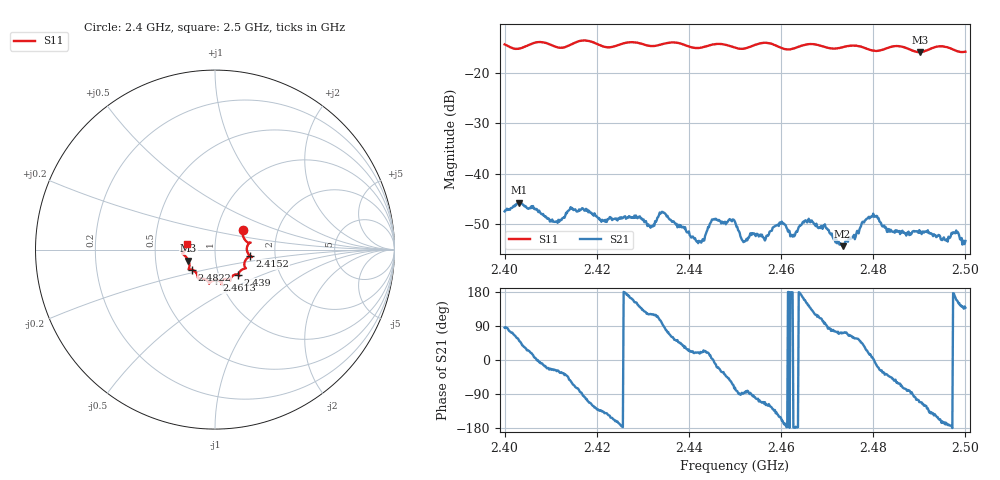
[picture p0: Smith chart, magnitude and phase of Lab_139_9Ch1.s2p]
# Hz S RI R 50
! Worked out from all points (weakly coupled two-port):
!   601 points, 2.4 GHz to 2.5 GHz, reference 50 ohm
!   highest |S21| = -45.79 dB at 2.4032 GHz (marker M1); lowest = -54.4 dB at 2.4733 GHz (marker M2)
!   lowest |S11| = -15.9 dB at 2.4902 GHz (marker M3), VSWR 1.38, Z = 36.8 - j4.63 ohm
!   |S11| at or under -10 dB: start of sweep to end of sweep
!   S12 and S22 are empty: the file has one direction only
!   S11 on the Smith chart (normalised r, x): 2.4 GHz: 1.33, +0.31; 2.4152 GHz: 1.48, -0.11; 2.439 GHz: 1.24, -0.36; 2.4613 GHz: 0.96, -0.34; 2.4822 GHz: 0.76, -0.17; 2.5 GHz: 0.72, +0.05
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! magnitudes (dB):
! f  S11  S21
! 2.4 GHz  -14.4  -47.5
! 2.4032 GHz  -15.2  -45.8
! 2.411 GHz  -14.8  -49.6
! 2.4152 GHz  -14.1  -47.2
! 2.4167 GHz  -13.6  -47.1
! 2.4315 GHz  -14.7  -50.4
! 2.4333 GHz  -14.5  -48.6
! 2.439 GHz  -14.4  -50.9
! 2.4423 GHz  -15.1  -53.6
! 2.4453 GHz  -14.4  -49.2
! 2.45 GHz  -15.0  -49.6
! 2.4522 GHz  -15.2  -53.5
! 2.4613 GHz  -15.4  -51.0
! 2.4625 GHz  -15.2  -52.5
! 2.4667 GHz  -14.3  -49.3
! 2.4733 GHz  -14.9  -54.4
! 2.4795 GHz  -15.5  -48.7
! 2.4822 GHz  -15.4  -50.4
! 2.4833 GHz  -15.0  -51.5
! 2.4902 GHz  -15.9  -51.8
! 2.4978 GHz  -15.6  -51.9
! 2.5 GHz  -15.8  -53.4
